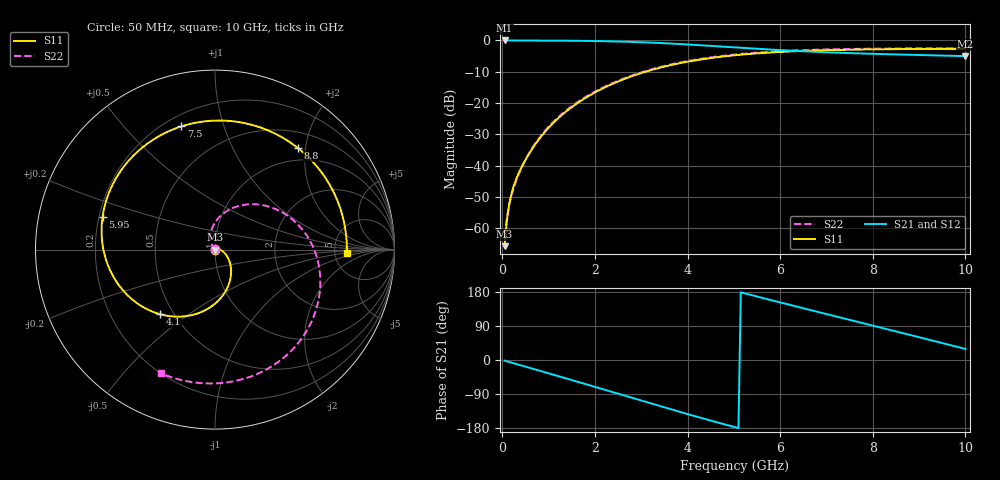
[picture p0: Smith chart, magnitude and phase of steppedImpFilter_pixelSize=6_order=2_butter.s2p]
! freq	dB(S11)	phase(S11)	dB(S12)	phase(S12)
!  dB(S21)	phase(S21)	dB(S22)	phase(S22)
!S-par simulation data
#  GHz  S  DB  R 50
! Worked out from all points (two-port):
!   200 points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, 50 MHz to 10 GHz, reference 50 ohm
!   highest |S21| = 0.00 dB at 50 MHz (marker M1); lowest = -5.0 dB at 10 GHz (marker M2)
!   |S21| within 3 dB of the highest: start of sweep to 5.903 GHz
!   lowest |S11| = -65.7 dB at 50 MHz (marker M3), VSWR 1.00, Z = 50 + j0.0417 ohm
!   |S11| at or under -10 dB: start of sweep to 3.091 GHz
!   |S22| runs from -62.5 to -2.5 dB; largest |S21 - S12| = 0
!   S11 on the Smith chart (normalised r, x): 50 MHz: 1.00, +0.00; 4.1 GHz: 0.42, -0.39; 5.95 GHz: 0.21, +0.14; 7.5 GHz: 0.26, +0.73; 8.8 GHz: 0.76, +1.85; 10 GHz: 6.47, -0.60
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0.05  -65.69 53.3  -0.00 -1.7  -0.00 -1.7  -62.53 89.6
0.1  -57.36 47.2  -0.00 -3.5  -0.00 -3.5  -56.32 97.6
0.15  -52.24 45.2  -0.01 -5.2  -0.01 -5.2  -52.44 103.2
0.2  -48.81 43.6  -0.01 -7.0  -0.01 -7.0  -49.49 107.8
0.3  -44.27 38.0  -0.01 -10.5  -0.01 -10.5  -44.88 114.7
0.45  -39.51 25.7  -0.02 -15.8  -0.02 -15.8  -39.60 120.6
0.7  -33.41 6.9  -0.03 -24.6  -0.03 -24.6  -33.13 122.9
1  -27.88 -10.3  -0.05 -35.1  -0.05 -35.1  -27.53 119.0
1.75  -18.77 -42.9  -0.13 -61.9  -0.13 -61.9  -18.47 98.0
2.55  -12.80 -73.3  -0.35 -90.8  -0.35 -90.8  -12.55 70.4
3.4  -8.73 -104.7  -0.81 -121.6  -0.81 -121.6  -8.50 40.3
4.1  -6.53 -130.1  -1.37 -146.2  -1.37 -146.2  -6.30 16.5
4.55  -5.52 -146.3  -1.78 -161.6  -1.78 -161.6  -5.29 2.2
5.05  -4.68 -164.2  -2.24 -178.1  -2.24 -178.1  -4.44 -12.8
5.95  -3.71 163.7  -3.04 153.4  -3.04 153.4  -3.46 -37.0
6.7  -3.24 136.2  -3.59 130.5  -3.59 130.5  -2.99 -54.6
7.5  -2.96 105.2  -4.04 106.3  -4.04 106.3  -2.71 -71.2
7.95  -2.85 86.9  -4.25 92.6  -4.25 92.6  -2.62 -79.7
8.35  -2.79 70.2  -4.41 80.3  -4.41 80.3  -2.57 -86.8
8.8  -2.73 50.8  -4.58 66.4  -4.58 66.4  -2.53 -94.5
9.45  -2.68 22.4  -4.81 46.2  -4.81 46.2  -2.49 -104.9
10  -2.68 -1.7  -5.00 29.2  -5.00 29.2  -2.48 -113.5
